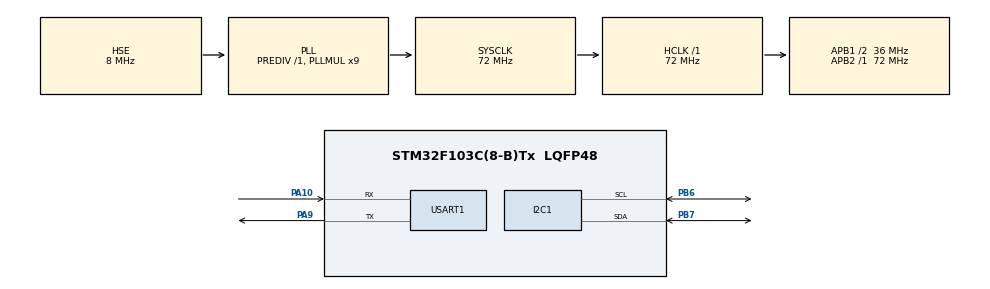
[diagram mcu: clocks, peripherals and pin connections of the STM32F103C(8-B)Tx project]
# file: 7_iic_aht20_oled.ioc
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Mcu.Family=STM32F1
Mcu.Name=STM32F103C(8-B)Tx
Mcu.Package=LQFP48
NVIC.PriorityGroup=NVIC_PRIORITYGROUP_4
PA10.Mode=Asynchronous
PA10.Signal=USART1_RX
PA13.Mode=Serial_Wire
PA13.Signal=SYS_JTMS-SWDIO
PA14.Mode=Serial_Wire
PA14.Signal=SYS_JTCK-SWCLK
PA9.Mode=Asynchronous
PA9.Signal=USART1_TX
PB6.Mode=I2C
PB6.Signal=I2C1_SCL
PB7.Mode=I2C
PB7.Signal=I2C1_SDA
PC14-OSC32_IN.Mode=LSE-External-Oscillator
PC14-OSC32_IN.Signal=RCC_OSC32_IN
PC15-OSC32_OUT.Mode=LSE-External-Oscillator
PC15-OSC32_OUT.Signal=RCC_OSC32_OUT
PD0-OSC_IN.Mode=HSE-External-Oscillator
PD0-OSC_IN.Signal=RCC_OSC_IN
PD1-OSC_OUT.Mode=HSE-External-Oscillator
PD1-OSC_OUT.Signal=RCC_OSC_OUT
ProjectManager.HeapSize=0x200
ProjectManager.StackSize=0x400
ProjectManager.TargetToolchain=MDK-ARM V5.32
RCC.AHBFreq_Value=72000000
RCC.APB1CLKDivider=RCC_HCLK_DIV2
RCC.APB1Freq_Value=36000000
RCC.APB1TimFreq_Value=72000000
RCC.APB2Freq_Value=72000000
RCC.APB2TimFreq_Value=72000000
RCC.HCLKFreq_Value=72000000
RCC.PLLMUL=RCC_PLL_MUL9
RCC.PLLSourceVirtual=RCC_PLLSOURCE_HSE
RCC.SYSCLKFreq_VALUE=72000000
RCC.SYSCLKSource=RCC_SYSCLKSOURCE_PLLCLK
RCC.USBFreq_Value=72000000
USART1.VirtualMode=VM_ASYNC
board=custom

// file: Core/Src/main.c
/* USER CODE BEGIN Header */
/**
  ******************************************************************************
  * @file           : main.c
  * @brief          : Main program body
  ******************************************************************************
  * @attention
  *
  * Copyright (c) 2025 STMicroelectronics.
  * All rights reserved.
  *
  * This software is licensed under terms that can be found in the LICENSE file
  * in the root directory of this software component.
  * If no LICENSE file comes with this software, it is provided AS-IS.
  *
  ******************************************************************************
  */
/* USER CODE END Header */
#include "main.h"
#include "i2c.h"
#include "usart.h"
#include "gpio.h"

/* 私有包含文件 ----------------------------------------------------------*/
/* USER CODE BEGIN Includes */
#include "aht20.h"
#include <string.h>
/* USER CODE END Includes */

/* 私有类型定义 -----------------------------------------------------------*/

/* 私有定义 ------------------------------------------------------------*/

/* 私有宏 -------------------------------------------------------------*/

/* 私有变量 ---------------------------------------------------------*/

/* USER CODE BEGIN PV */
AHT20_HandleTypeDef aht20;  // AHT20传感器句柄
char uart_buffer[100];      // UART发送缓冲区
/* USER CODE END PV */

/* 私有函数原型 -----------------------------------------------*/
void SystemClock_Config(void);

/* 私有用户代码 ---------------------------------------------------------*/

/**
  * @brief  应用程序入口点
  * @retval int
  */
int main(void)
{

  /* MCU配置--------------------------------------------------------*/

  /* 复位所有外设，初始化Flash接口和Systick */
  HAL_Init();

  /* 配置系统时钟 */
  SystemClock_Config();

  /* 初始化所有配置的外设 */
  MX_GPIO_Init();
  MX_I2C1_Init();
  MX_USART1_UART_Init();
  /* USER CODE BEGIN 2 */

  // 小延时确保UART完全初始化
  HAL_Delay(100);

  // 测试UART发送并检查错误
  uint8_t ret[] = "helloworld!\r\n";
  HAL_StatusTypeDef uart_status = HAL_UART_Transmit(&huart1, ret, strlen((char*)ret), 1000);

  // 初始化AHT20传感器
  if (AHT20_Init(&aht20, &hi2c1) != HAL_OK) {
      uint8_t msg1[] = "AHT20初始化失败!\r\n";
      HAL_UART_Transmit(&huart1, msg1, strlen((char*)msg1), 1000);
      while(1); // 初始化失败时停止程序
  } else {
      uint8_t msg2[] = "AHT20传感器就绪!\r\n";
      HAL_UART_Transmit(&huart1, msg2, strlen((char*)msg2), 1000);
  }
  /* USER CODE END 2 */

  /* 无限循环 */
  while (1)
  {

    /* USER CODE BEGIN 3 */
    // 读取AHT20传感器数据
    float temperature = AHT20_GetTemperature(&aht20);
    float humidity = AHT20_GetHumidity(&aht20);

    // 检查读数是否有效
    if (temperature > -500.0f && humidity > 0.0f) {
        // 格式化并通过UART发送传感器数据
        int len = snprintf(uart_buffer, sizeof(uart_buffer),
                          "Temp: %.1fC, Hum: %.1f%%\r\n",
                          temperature, humidity);
        HAL_UART_Transmit(&huart1, (uint8_t*)uart_buffer, len, HAL_MAX_DELAY);
    }

    // 两次读取间隔2秒
    HAL_Delay(2000);
  }
  /* USER CODE END 3 */
}

void SystemClock_Config(void)
{
  RCC_OscInitTypeDef RCC_OscInitStruct = {0};
  RCC_ClkInitTypeDef RCC_ClkInitStruct = {0};

  /** Initializes the RCC Oscillators according to the specified parameters
  * in the RCC_OscInitTypeDef structure.
  */
  RCC_OscInitStruct.OscillatorType = RCC_OSCILLATORTYPE_HSE;
  RCC_OscInitStruct.HSEState = RCC_HSE_ON;
  RCC_OscInitStruct.HSEPredivValue = RCC_HSE_PREDIV_DIV1;
  RCC_OscInitStruct.HSIState = RCC_HSI_ON;
  RCC_OscInitStruct.PLL.PLLState = RCC_PLL_ON;
  RCC_OscInitStruct.PLL.PLLSource = RCC_PLLSOURCE_HSE;
  RCC_OscInitStruct.PLL.PLLMUL = RCC_PLL_MUL9;
  if (HAL_RCC_OscConfig(&RCC_OscInitStruct) != HAL_OK)
  {
    Error_Handler();
  }

  /** Initializes the CPU, AHB and APB buses clocks
  */
  RCC_ClkInitStruct.ClockType = RCC_CLOCKTYPE_HCLK|RCC_CLOCKTYPE_SYSCLK
                              |RCC_CLOCKTYPE_PCLK1|RCC_CLOCKTYPE_PCLK2;
  RCC_ClkInitStruct.SYSCLKSource = RCC_SYSCLKSOURCE_PLLCLK;
  RCC_ClkInitStruct.AHBCLKDivider = RCC_SYSCLK_DIV1;
  RCC_ClkInitStruct.APB1CLKDivider = RCC_HCLK_DIV2;
  RCC_ClkInitStruct.APB2CLKDivider = RCC_HCLK_DIV1;

  if (HAL_RCC_ClockConfig(&RCC_ClkInitStruct, FLASH_LATENCY_2) != HAL_OK)
  {
    Error_Handler();
  }
}

void Error_Handler(void)
{
  __disable_irq();
  while (1)
  {
  }
}
